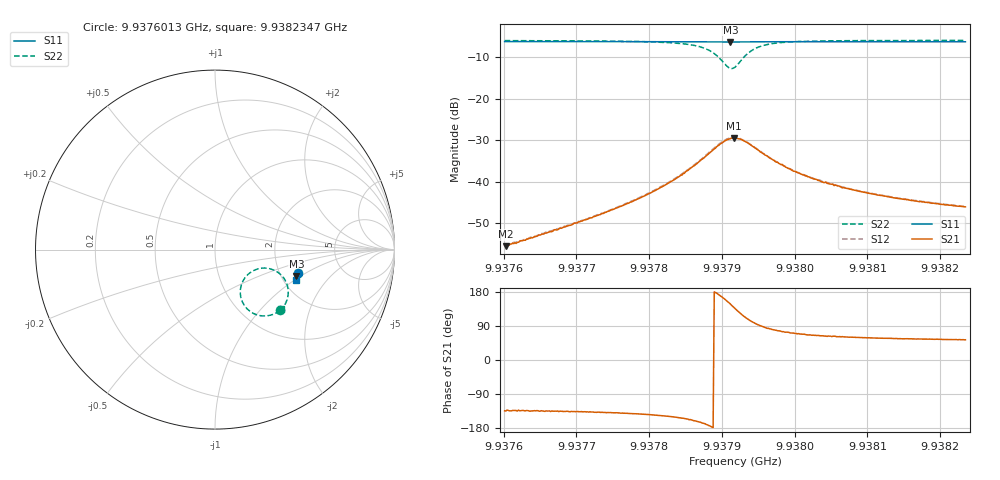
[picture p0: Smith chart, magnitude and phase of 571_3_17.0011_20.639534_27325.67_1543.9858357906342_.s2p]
#  HZ  S  RI  R  50.00
! Rohde & Schwarz Vector Network Analyzer
! Rohde-Schwarz,ZNB20-2Port,1311601062101988,3.16
! Created: UTC 3/20/2024, 11:17:44 PM
! freq[Hz]  re:S11  im:S11  re:S21  im:S21  re:S12  im:S12  re:S22  im:S22
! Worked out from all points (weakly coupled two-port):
!   401 points, 9.9376013 GHz to 9.9382347 GHz, reference 50 ohm
!   highest |S21| = -29.46 dB at 9.9379165 GHz (marker M1); lowest = -55.5 dB at 9.9376029 GHz (marker M2)
!   lowest |S11| = -6.4 dB at 9.9379117 GHz (marker M3), VSWR 2.82, Z = 121 - j45.9 ohm
!   |S11| at or under -10 dB: nowhere
!   |S22| runs from -12.8 to -6.1 dB; largest |S21 - S12| = 0.0015
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9.93760133e9  0.465 -0.1281  -0.00121 -0.00125  -0.00119 -0.00124  0.3619 -0.3382
9.93760291e9  0.4649 -0.1283  -0.00118 -0.0012  -0.0012 -0.00125  0.3618 -0.3383
9.93770742e9  0.4623 -0.1352  -0.00243 -0.00234  -0.00252 -0.00235  0.3451 -0.3499
9.93777393e9  0.4607 -0.1398  -0.00444 -0.00356  -0.00454 -0.00355  0.3245 -0.3604
9.93781352e9  0.4593 -0.1427  -0.00691 -0.00466  -0.00711 -0.00464  0.3012 -0.3672
9.93784519e9  0.4582 -0.1448  -0.0108 -0.00538  -0.0112 -0.00539  0.2662 -0.3697
9.93787528e9  0.4563 -0.1467  -0.0188 -0.00412  -0.0196 -0.00399  0.2023 -0.3487
9.93788795e9  0.4554 -0.1474  -0.0241 -0.00067  -0.0248 -0.000101  0.1654 -0.3133
9.93789903e9  0.4545 -0.1474  -0.0282 0.00597  -0.0289 0.00689  0.1419 -0.2533
9.93790695e9  0.4538 -0.1471  -0.0291 0.0132  -0.0294 0.0144  0.1475 -0.1952
9.9379117e9  0.4539 -0.1468  -0.0279 0.0177  -0.0277 0.0191  0.1649 -0.16
9.93791645e9  0.4541 -0.1466  -0.0253 0.0222  -0.0249 0.0234  0.1926 -0.131
9.93791804e9  0.454 -0.1465  -0.0241 0.0233  -0.0236 0.0247  0.2035 -0.123
9.93792595e9  0.4545 -0.1463  -0.0173 0.0275  -0.0165 0.0284  0.2639 -0.1032
9.93793704e9  0.4553 -0.1469  -0.00802 0.0276  -0.00728 0.028  0.336 -0.1177
9.93795287e9  0.456 -0.1482  -9.24e-05 0.0227  0.000361 0.0232  0.3881 -0.1664
9.93798296e9  0.4558 -0.1509  0.00425 0.0156  0.00443 0.0154  0.4081 -0.2343
9.9379988e9  0.4557 -0.1523  0.00437 0.0126  0.00476 0.0128  0.4069 -0.2553
9.93802413e9  0.4551 -0.1541  0.00461 0.00997  0.00471 0.0101  0.4019 -0.2773
9.93807322e9  0.4538 -0.1577  0.00408 0.00721  0.00425 0.00721  0.3921 -0.3014
9.93813023e9  0.4523 -0.1615  0.00358 0.00552  0.00373 0.00552  0.3827 -0.3166
9.93823475e9  0.4494 -0.1684  0.00299 0.00402  0.00308 0.00403  0.3705 -0.3321
